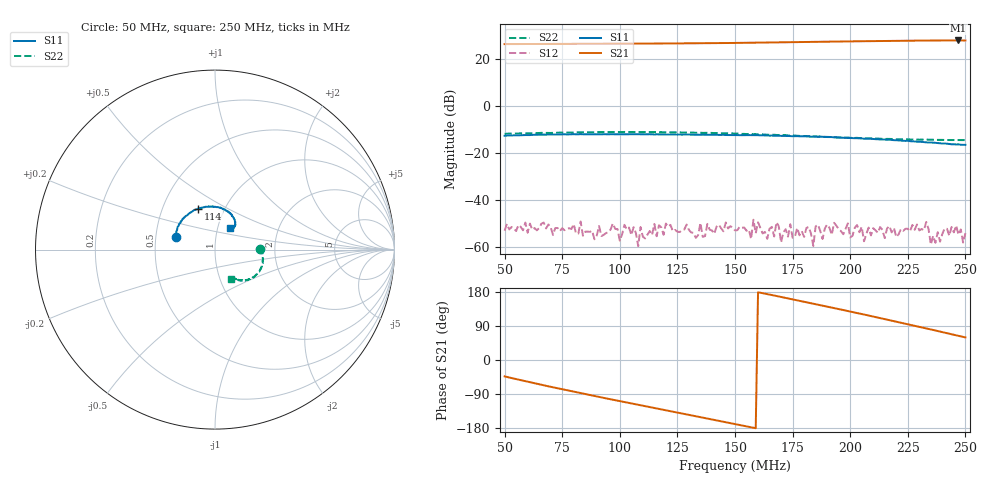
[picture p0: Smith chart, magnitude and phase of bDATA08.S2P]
! Network Analyzer HP8753D.06.12 Serial No. 3410A09394
! 12 Jun 2019  13:41:45
# HZ  S  DB R 50
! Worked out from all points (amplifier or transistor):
!   201 points, 50 MHz to 250 MHz, reference 50 ohm
!   highest |S21| = 27.8 dB at 247 MHz (marker M1)
!   |S21| within 3 dB of that: start of sweep to end of sweep
!   unconditionally stable (mu >= 1): start of sweep to end of sweep
!   at 83 MHz: K = 6.11, MAG = 27.0 dB, |S12| = -49.3 dB
!   at 150 MHz: K = 9.18, MAG = 27.3 dB, |S12| = -53.1 dB
!   at 250 MHz: K = 9.91, MAG = 28.1 dB, |S12| = -54.3 dB
!   S11 on the Smith chart (normalised r, x): 50 MHz: 0.64, +0.09; 114 MHz: 0.75, +0.37; 250 MHz: 1.15, +0.28
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5e7  -12.77 162.5  26.27 -43.2  -53.23 145.4  -11.93 0.8
6.5e7  -12.27 149.1  26.34 -64.2  -52.08 121.1  -11.58 -4.5
7.4e7  -12.27 141.8  26.37 -76.0  -53.34 114.8  -11.42 -7.9
8.4e7  -12.13 133.7  26.41 -88.7  -55.36 103.9  -11.29 -12.1
9.7e7  -12.10 124.3  26.44 -104.9  -50.14 93.9  -11.20 -17.2
1.14e8  -12.18 112.0  26.52 -125.5  -55.02 72.4  -11.21 -24.6
1.17e8  -12.20 110.3  26.54 -129.1  -50.89 66.3  -11.19 -26.3
1.34e8  -12.31 99.3  26.65 -149.7  -55.08 50.3  -11.48 -33.4
1.5e8  -12.47 89.3  26.77 -169.1  -53.05 17.4  -11.86 -39.5
1.59e8  -12.56 83.2  26.87 -180.0  -54.27 18.3  -12.04 -42.6
1.68e8  -12.75 77.7  27.02 168.9  -49.61 -6.2  -12.43 -45.7
1.76e8  -12.93 73.2  27.14 158.8  -55.84 2.0  -12.71 -48.1
1.84e8  -13.11 68.7  27.23 148.7  -59.75 -50.9  -12.99 -50.6
1.86e8  -13.23 67.0  27.25 146.1  -50.69 -23.7  -13.11 -50.5
1.99e8  -13.66 61.0  27.44 129.1  -50.08 -23.0  -13.58 -53.1
2.06e8  -14.01 57.3  27.51 120.0  -57.70 -36.7  -13.81 -54.3
2.17e8  -14.39 53.3  27.63 105.3  -51.21 -42.5  -14.10 -55.8
2.25e8  -14.91 50.5  27.72 94.5  -52.37 -37.6  -14.23 -56.3
2.33e8  -15.57 49.9  27.79 83.5  -49.49 -54.0  -14.34 -58.2
2.35e8  -15.64 49.1  27.81 80.7  -59.13 -72.2  -14.44 -58.3
2.47e8  -16.43 52.2  27.83 63.7  -54.92 -93.0  -14.60 -60.7
2.5e8  -16.63 55.0  27.82 59.6  -54.26 -91.6  -14.62 -61.5
